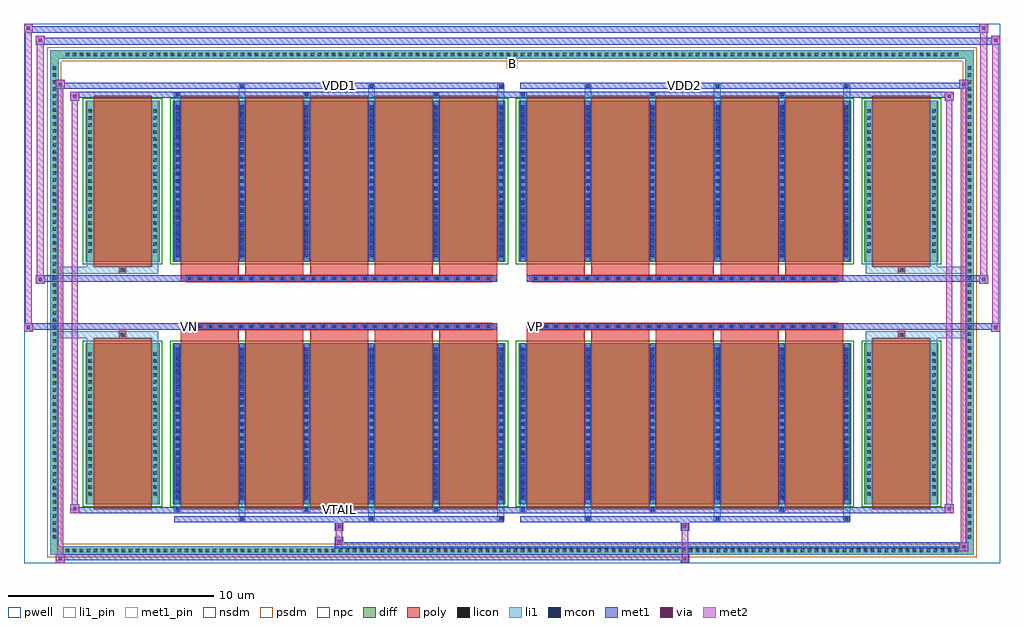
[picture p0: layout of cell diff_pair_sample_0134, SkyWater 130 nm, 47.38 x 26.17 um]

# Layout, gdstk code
import gdstk
lib = gdstk.Library(unit=1e-6, precision=5e-09)
def R(c, l, rs):  # rectangles x0, y0, x1, y1
    for r in rs: c.add(gdstk.rectangle(r[:2], r[2:], *l))
def A(c, l, x, y, w, h, nx, ny, dx, dy):  # array of equal rectangles
    R(c, l, [(x+i*dx, y+j*dy, x+i*dx+w, y+j*dy+h) for i in range(nx) for j in range(ny)])
def P(c, l, *ps):  # polygons
    for p in ps: c.add(gdstk.Polygon(p, *l))
pwell = (64, 44)
diff = (65, 20)
poly = (66, 20)
licon = (66, 44)
li1_pin = (67, 16)
li1 = (67, 20)
mcon = (67, 44)
met1_pin = (68, 16)
met1 = (68, 20)
via = (68, 44)
met2 = (69, 20)
nsdm = (93, 44)
psdm = (94, 20)
npc = (95, 20)

diff_pair_sample_0134 = lib.new_cell('diff_pair_sample_0134')
R(diff_pair_sample_0134, pwell, [(-23.69,-12.65,23.69,13.52), (-21.01,-10.84,-0.01,-0.8), (0.01,-10.84,21.01,-0.8), (-21.01,0.8,-0.01,10.84), (0.01,0.8,21.01,10.84)])
A(diff_pair_sample_0134, diff, -21.795, -12.25, 0.41, 0.41, 128, 2, 0.34, 24.09)
A(diff_pair_sample_0134, diff, -22.42, -11.595, 0.41, 0.41, 1, 68, 0, 0.34)
A(diff_pair_sample_0134, diff, 22.01, -11.595, 0.41, 0.41, 1, 68, 0, 0.34)
R(diff_pair_sample_0134, diff, [(-21.795,-12.25,21.795,-11.84), (-22.42,-11.595,-22.01,11.595), (22.01,-11.595,22.42,11.595), (-20.7,-9.795,-17.11,-1.985), (-16.47,-9.795,-0.32,-1.985), (0.32,-9.795,16.47,-1.985), (17.11,-9.795,20.7,-1.985), (-20.7,1.985,-17.11,9.795), (-16.47,1.985,-0.32,9.795), (0.32,1.985,16.47,9.795), (17.11,1.985,20.7,9.795), (-21.795,11.84,21.795,12.25)])
P(diff_pair_sample_0134, diff, [(22.42,12.25),(-22.42,12.25),(-22.42,-11.84),(-22.01,-11.84),(-22.01,11.84),(22.01,11.84),(22.01,-11.84),(-22.01,-11.84),(-22.42,-11.84),(-22.42,-12.25),(22.42,-12.25)])
A(diff_pair_sample_0134, poly, -16.08, -10.045, 2.81, 8.31, 5, 2, 3.14, 11.78)
A(diff_pair_sample_0134, poly, 0.71, -10.045, 2.81, 8.31, 5, 2, 3.14, 11.78)
A(diff_pair_sample_0134, poly, -16.08, -1.735, 2.81, 0.405, 5, 2, 3.14, 3.065)
A(diff_pair_sample_0134, poly, 0.71, -1.735, 2.81, 0.405, 5, 2, 3.14, 3.065)
A(diff_pair_sample_0134, poly, -15.81, -1.33, 0.33, 0.33, 30, 2, 0.5, 2.33)
A(diff_pair_sample_0134, poly, 0.98, -1.33, 0.33, 0.33, 30, 2, 0.5, 2.33)
R(diff_pair_sample_0134, poly, [(-20.31,-10.045,-17.5,-1.735), (17.5,-10.045,20.31,-1.735), (-19.07,-1.735,-18.74,-1.405), (-19.07,-1.735,-18.74,-1.405), (18.74,-1.735,19.07,-1.405), (18.74,-1.735,19.07,-1.405), (-16.08,-1.33,-0.71,-1), (0.71,-1.33,16.08,-1), (-16.08,1,-0.71,1.33), (0.71,1,16.08,1.33), (-19.07,1.405,-18.74,1.735), (-19.07,1.405,-18.74,1.735), (18.74,1.405,19.07,1.735), (18.74,1.405,19.07,1.735), (-20.31,1.735,-17.5,10.045), (17.5,1.735,20.31,10.045)])
A(diff_pair_sample_0134, licon, -21.675, -12.13, 0.17, 0.17, 128, 2, 0.34, 24.09)
A(diff_pair_sample_0134, licon, -22.3, -11.475, 0.17, 0.17, 1, 68, 0, 0.34)
A(diff_pair_sample_0134, licon, 22.13, -11.475, 0.17, 0.17, 1, 68, 0, 0.34)
A(diff_pair_sample_0134, licon, -20.56, -9.375, 0.17, 0.17, 1, 21, 0, 0.34)
A(diff_pair_sample_0134, licon, -17.42, -9.375, 0.17, 0.17, 1, 21, 0, 0.34)
A(diff_pair_sample_0134, licon, -16.33, -9.375, 0.17, 0.17, 6, 21, 3.14, 0.34)
A(diff_pair_sample_0134, licon, 0.46, -9.375, 0.17, 0.17, 6, 21, 3.14, 0.34)
A(diff_pair_sample_0134, licon, 17.25, -9.375, 0.17, 0.17, 1, 21, 0, 0.34)
A(diff_pair_sample_0134, licon, 20.39, -9.375, 0.17, 0.17, 1, 21, 0, 0.34)
A(diff_pair_sample_0134, licon, -15.73, -1.25, 0.17, 0.17, 30, 2, 0.5, 2.33)
A(diff_pair_sample_0134, licon, 1.06, -1.25, 0.17, 0.17, 30, 2, 0.5, 2.33)
A(diff_pair_sample_0134, licon, -20.56, 2.405, 0.17, 0.17, 1, 21, 0, 0.34)
A(diff_pair_sample_0134, licon, -17.42, 2.405, 0.17, 0.17, 1, 21, 0, 0.34)
A(diff_pair_sample_0134, licon, -16.33, 2.405, 0.17, 0.17, 6, 21, 3.14, 0.34)
A(diff_pair_sample_0134, licon, 0.46, 2.405, 0.17, 0.17, 6, 21, 3.14, 0.34)
A(diff_pair_sample_0134, licon, 17.25, 2.405, 0.17, 0.17, 1, 21, 0, 0.34)
A(diff_pair_sample_0134, licon, 20.39, 2.405, 0.17, 0.17, 1, 21, 0, 0.34)
R(diff_pair_sample_0134, licon, [(-18.99,-1.655,-18.82,-1.485), (18.82,-1.655,18.99,-1.485), (-18.99,1.485,-18.82,1.655), (18.82,1.485,18.99,1.655)])
R(diff_pair_sample_0134, li1_pin, [(-0.25,11.34,0.25,11.84)])
A(diff_pair_sample_0134, li1, -21.755, -12.21, 0.33, 0.33, 128, 2, 0.34, 24.09)
A(diff_pair_sample_0134, li1, -22.38, -11.555, 0.33, 0.33, 1, 68, 0, 0.34)
A(diff_pair_sample_0134, li1, 22.05, -11.555, 0.33, 0.33, 1, 68, 0, 0.34)
A(diff_pair_sample_0134, li1, -13.27, -10.6, 0.33, 0.805, 3, 2, 6.28, 20.395)
A(diff_pair_sample_0134, li1, -13.19, -10.6, 0.17, 0.17, 3, 2, 6.28, 21.03)
A(diff_pair_sample_0134, li1, 3.52, -10.6, 0.33, 0.805, 3, 2, 6.28, 20.395)
A(diff_pair_sample_0134, li1, 3.6, -10.6, 0.17, 0.17, 3, 2, 6.28, 21.03)
A(diff_pair_sample_0134, li1, -16.41, -10.17, 0.33, 0.375, 3, 2, 6.28, 19.965)
A(diff_pair_sample_0134, li1, -16.33, -10.17, 0.17, 0.17, 3, 2, 6.28, 20.17)
A(diff_pair_sample_0134, li1, 0.38, -10.17, 0.33, 0.375, 3, 2, 6.28, 19.965)
A(diff_pair_sample_0134, li1, 0.46, -10.17, 0.17, 0.17, 3, 2, 6.28, 20.17)
A(diff_pair_sample_0134, li1, -16.41, -9.795, 0.33, 7.81, 6, 2, 3.14, 11.78)
A(diff_pair_sample_0134, li1, 0.38, -9.795, 0.33, 7.81, 6, 2, 3.14, 11.78)
A(diff_pair_sample_0134, li1, -16.33, -9.575, 0.17, 0.17, 6, 21, 3.14, 0.36)
A(diff_pair_sample_0134, li1, -16.33, -9.575, 0.17, 7.37, 6, 2, 3.14, 11.78)
A(diff_pair_sample_0134, li1, 0.46, -9.575, 0.17, 0.17, 6, 21, 3.14, 0.36)
A(diff_pair_sample_0134, li1, 0.46, -9.575, 0.17, 7.37, 6, 2, 3.14, 11.78)
A(diff_pair_sample_0134, li1, -20.64, -9.455, 0.33, 0.33, 1, 21, 0, 0.34)
A(diff_pair_sample_0134, li1, -17.5, -9.455, 0.33, 0.33, 1, 21, 0, 0.34)
A(diff_pair_sample_0134, li1, -16.41, -9.455, 0.33, 0.33, 6, 21, 3.14, 0.34)
A(diff_pair_sample_0134, li1, 0.38, -9.455, 0.33, 0.33, 6, 21, 3.14, 0.34)
A(diff_pair_sample_0134, li1, 17.17, -9.455, 0.33, 0.33, 1, 21, 0, 0.34)
A(diff_pair_sample_0134, li1, 20.31, -9.455, 0.33, 0.33, 1, 21, 0, 0.34)
A(diff_pair_sample_0134, li1, -15.81, -1.33, 0.33, 0.33, 30, 2, 0.5, 2.33)
A(diff_pair_sample_0134, li1, 0.98, -1.33, 0.33, 0.33, 30, 2, 0.5, 2.33)
A(diff_pair_sample_0134, li1, -16.33, 2.205, 0.17, 0.17, 6, 21, 3.14, 0.36)
A(diff_pair_sample_0134, li1, 0.46, 2.205, 0.17, 0.17, 6, 21, 3.14, 0.36)
A(diff_pair_sample_0134, li1, -20.64, 2.325, 0.33, 0.33, 1, 21, 0, 0.34)
A(diff_pair_sample_0134, li1, -17.5, 2.325, 0.33, 0.33, 1, 21, 0, 0.34)
A(diff_pair_sample_0134, li1, -16.41, 2.325, 0.33, 0.33, 6, 21, 3.14, 0.34)
A(diff_pair_sample_0134, li1, 0.38, 2.325, 0.33, 0.33, 6, 21, 3.14, 0.34)
A(diff_pair_sample_0134, li1, 17.17, 2.325, 0.33, 0.33, 1, 21, 0, 0.34)
A(diff_pair_sample_0134, li1, 20.31, 2.325, 0.33, 0.33, 1, 21, 0, 0.34)
R(diff_pair_sample_0134, li1, [(-22.42,-12.25,-22.01,-11.84), (-22.42,-12.25,-22.01,-11.84), (-22.01,-12.25,22.01,-11.84), (22.01,-12.25,22.42,-11.84), (22.01,-12.25,22.42,-11.84), (-22.42,-11.84,-22.01,11.84), (22.01,-11.84,22.42,11.84), (-20.64,-9.795,-20.31,-1.985), (-17.5,-9.795,-17.17,-1.985), (17.17,-9.795,17.5,-1.985), (20.31,-9.795,20.64,-1.985), (-20.64,-1.985,-20.31,-1.405), (-17.5,-1.985,-17.17,-1.405), (17.17,-1.985,17.5,-1.405), (20.31,-1.985,20.64,-1.405), (-22.42,-1.735,-19.07,-1.405), (-20.64,-1.735,-19.07,-1.405), (-19.07,-1.735,-18.74,-1.405), (-18.74,-1.735,-17.17,-1.405), (17.17,-1.735,18.74,-1.405), (18.74,-1.735,19.07,-1.405), (18.74,-1.735,22.42,-1.405), (19.07,-1.735,20.64,-1.405), (-22.42,1.405,-19.07,1.735), (-20.64,1.405,-19.07,1.735), (-20.64,1.405,-20.31,1.985), (-19.07,1.405,-18.74,1.735), (-18.74,1.405,-17.17,1.735), (-17.5,1.405,-17.17,1.985), (17.17,1.405,18.74,1.735), (17.17,1.405,17.5,1.985), (18.74,1.405,19.07,1.735), (18.74,1.405,22.42,1.735), (19.07,1.405,20.64,1.735), (20.31,1.405,20.64,1.985), (-20.64,1.985,-20.31,9.795), (-17.5,1.985,-17.17,9.795), (17.17,1.985,17.5,9.795), (20.31,1.985,20.64,9.795), (-22.42,11.84,-22.01,12.25), (-22.42,11.84,-22.01,12.25), (-22.01,11.84,22.01,12.25), (22.01,11.84,22.42,12.25), (22.01,11.84,22.42,12.25)])
A(diff_pair_sample_0134, mcon, -13.19, -10.6, 0.17, 0.17, 3, 2, 6.28, 21.03)
A(diff_pair_sample_0134, mcon, 3.6, -10.6, 0.17, 0.17, 3, 2, 6.28, 21.03)
A(diff_pair_sample_0134, mcon, -16.33, -10.17, 0.17, 0.17, 3, 2, 6.28, 20.17)
A(diff_pair_sample_0134, mcon, 0.46, -10.17, 0.17, 0.17, 3, 2, 6.28, 20.17)
A(diff_pair_sample_0134, mcon, -16.33, -9.575, 0.17, 0.17, 6, 21, 3.14, 0.36)
A(diff_pair_sample_0134, mcon, 0.46, -9.575, 0.17, 0.17, 6, 21, 3.14, 0.36)
A(diff_pair_sample_0134, mcon, -15.73, -1.25, 0.17, 0.17, 30, 2, 0.5, 2.33)
A(diff_pair_sample_0134, mcon, 1.06, -1.25, 0.17, 0.17, 30, 2, 0.5, 2.33)
A(diff_pair_sample_0134, mcon, -16.33, 2.205, 0.17, 0.17, 6, 21, 3.14, 0.36)
A(diff_pair_sample_0134, mcon, 0.46, 2.205, 0.17, 0.17, 6, 21, 3.14, 0.36)
R(diff_pair_sample_0134, met1_pin, [(-8.53,-10.21,-8.26,-9.94), (-15.78,-1.29,-15.51,-1.02), (1.01,-1.29,1.28,-1.02), (-8.53,10.39,-8.26,10.66), (8.26,10.39,8.53,10.66)])
A(diff_pair_sample_0134, met1, -13.25, -10.66, 0.29, 0.29, 3, 2, 6.28, 21.03)
A(diff_pair_sample_0134, met1, 3.54, -10.66, 0.29, 0.29, 3, 2, 6.28, 21.03)
A(diff_pair_sample_0134, met1, -16.39, -10.23, 0.29, 0.29, 3, 2, 6.28, 20.17)
A(diff_pair_sample_0134, met1, 0.4, -10.23, 0.29, 0.29, 3, 2, 6.28, 20.17)
A(diff_pair_sample_0134, met1, -16.39, -9.795, 0.29, 7.81, 6, 2, 3.14, 11.78)
A(diff_pair_sample_0134, met1, 0.4, -9.795, 0.29, 7.81, 6, 2, 3.14, 11.78)
A(diff_pair_sample_0134, met1, -16.39, -9.635, 0.29, 0.29, 6, 21, 3.14, 0.36)
A(diff_pair_sample_0134, met1, 0.4, -9.635, 0.29, 0.29, 6, 21, 3.14, 0.36)
A(diff_pair_sample_0134, met1, -15.79, -1.31, 0.29, 0.29, 30, 2, 0.5, 2.33)
A(diff_pair_sample_0134, met1, 1, -1.31, 0.29, 0.29, 30, 2, 0.5, 2.33)
A(diff_pair_sample_0134, met1, -16.39, 2.145, 0.29, 0.29, 6, 21, 3.14, 0.36)
A(diff_pair_sample_0134, met1, 0.4, 2.145, 0.29, 0.29, 6, 21, 3.14, 0.36)
R(diff_pair_sample_0134, met1, [(-22.15,-12.65,-21.72,-12.22), (8.18,-12.65,8.61,-12.22), (-22.15,-12.51,8.61,-12.22), (21.72,-12.08,22.15,-11.65), (-8.61,-11.94,22.15,-11.65), (-8.61,-11.8,-8.18,-11.37), (-8.61,-11.09,-8.18,-10.66), (8.18,-11.09,8.61,-10.66), (-16.39,-10.66,-0.4,-10.37), (0.4,-10.66,16.39,-10.37), (-21.44,-10.23,-21.01,-9.8), (-21.44,-10.23,-16.39,-9.94), (-16.39,-10.23,-0.4,-9.94), (-0.4,-10.23,0.4,-9.94), (0.4,-10.23,16.39,-9.94), (16.39,-10.23,21.44,-9.94), (21.01,-10.23,21.44,-9.8), (-23.69,-1.43,-23.26,-1), (23.26,-1.43,23.69,-1), (-23.69,-1.33,-0.71,-1), (-16.08,-1.33,-0.71,-1), (0.71,-1.33,16.08,-1), (0.71,-1.33,23.69,-1), (-23.12,0.9,-22.69,1.33), (22.69,0.9,23.12,1.33), (-23.12,1,-16.08,1.33), (-16.08,1,-0.71,1.33), (0.71,1,16.08,1.33), (16.08,1,23.12,1.33), (-21.44,9.8,-21.01,10.23), (21.01,9.8,21.44,10.23), (-21.44,9.94,-16.39,10.23), (-16.39,9.94,-0.4,10.23), (-0.4,9.94,0.4,10.23), (0.4,9.94,16.39,10.23), (16.39,9.94,21.44,10.23), (-22.15,10.37,-21.72,10.8), (-22.15,10.37,-16.39,10.66), (-16.39,10.37,-0.4,10.66), (0.4,10.37,16.39,10.66), (16.39,10.37,22.15,10.66), (21.72,10.37,22.15,10.8), (-23.12,12.52,-22.69,12.95), (-23.12,12.52,-21.01,12.85), (-21.01,12.52,21.01,12.85), (21.01,12.52,23.69,12.85), (23.26,12.52,23.69,12.95), (-23.69,13.09,-23.26,13.52), (-23.69,13.09,-21.01,13.42), (-21.01,13.09,21.01,13.42), (21.01,13.09,23.12,13.42), (22.69,13.09,23.12,13.52)])
R(diff_pair_sample_0134, via, [(-22.01,-12.51,-21.86,-12.36), (8.32,-12.51,8.47,-12.36), (21.86,-11.94,22.01,-11.79), (-8.47,-11.66,-8.32,-11.51), (-8.47,-10.95,-8.32,-10.8), (8.32,-10.95,8.47,-10.8), (-21.3,-10.09,-21.15,-9.94), (21.15,-10.09,21.3,-9.94), (-23.55,-1.29,-23.4,-1.14), (23.4,-1.29,23.55,-1.14), (-22.98,1.04,-22.83,1.19), (22.83,1.04,22.98,1.19), (-21.3,9.94,-21.15,10.09), (21.15,9.94,21.3,10.09), (-22.01,10.51,-21.86,10.66), (21.86,10.51,22.01,10.66), (-22.98,12.66,-22.83,12.81), (23.4,12.66,23.55,12.81), (-23.55,13.23,-23.4,13.38), (22.83,13.23,22.98,13.38)])
R(diff_pair_sample_0134, met2, [(-22.15,-12.65,-21.72,-12.22), (-22.08,-12.65,-21.79,10.8), (-21.79,-12.65,-21.72,-12.22), (-22.1,-12.6,-21.77,-12.27), (8.23,-12.6,8.56,-12.27), (8.23,-12.27,8.56,-11.04), (21.72,-12.08,22.15,-11.65), (21.79,-12.08,22.08,10.8), (22.08,-12.08,22.15,-11.65), (21.77,-12.03,22.1,-11.7), (-8.56,-11.75,-8.23,-11.42), (-8.56,-11.42,-8.23,-11.04), (-8.56,-11.04,-8.23,-10.71), (8.23,-11.04,8.56,-10.71), (-21.44,-10.23,-21.01,-9.8), (-21.37,-10.23,-21.08,10.23), (-21.08,-10.23,-21.01,-9.8), (21.01,-10.23,21.44,-9.8), (21.08,-10.23,21.37,10.23), (21.37,-10.23,21.44,-9.8), (-21.39,-10.18,-21.06,-9.85), (21.06,-10.18,21.39,-9.85), (-23.69,-1.43,-23.26,-1), (-23.64,-1.43,-23.31,13.52), (-23.31,-1.43,-23.26,-1), (23.26,-1.43,23.69,-1), (23.31,-1.43,23.64,12.95), (23.64,-1.43,23.69,-1), (-23.64,-1.38,-23.31,-1.05), (23.31,-1.38,23.64,-1.05), (-23.12,0.9,-22.69,1.33), (-23.07,0.9,-22.74,12.95), (-22.74,0.9,-22.69,1.33), (22.69,0.9,23.12,1.33), (22.74,0.9,23.07,13.52), (23.07,0.9,23.12,1.33), (-23.07,0.95,-22.74,1.28), (22.74,0.95,23.07,1.28), (-21.44,9.8,-21.01,10.23), (-21.08,9.8,-21.01,10.23), (21.01,9.8,21.44,10.23), (21.37,9.8,21.44,10.23), (-21.39,9.85,-21.06,10.18), (21.06,9.85,21.39,10.18), (-22.15,10.37,-21.72,10.8), (-21.79,10.37,-21.72,10.8), (21.72,10.37,22.15,10.8), (22.08,10.37,22.15,10.8), (-22.1,10.42,-21.77,10.75), (21.77,10.42,22.1,10.75), (-23.12,12.52,-22.69,12.95), (-22.74,12.52,-22.69,12.95), (23.26,12.52,23.69,12.95), (23.64,12.52,23.69,12.95), (-23.07,12.57,-22.74,12.9), (23.31,12.57,23.64,12.9), (-23.69,13.09,-23.26,13.52), (-23.31,13.09,-23.26,13.52), (22.69,13.09,23.12,13.52), (23.07,13.09,23.12,13.52), (-23.64,13.14,-23.31,13.47), (22.74,13.14,23.07,13.47)])
R(diff_pair_sample_0134, nsdm, [(-20.83,-9.925,-16.98,-1.855), (-16.6,-9.925,-0.19,-1.855), (0.19,-9.925,16.6,-1.855), (16.98,-9.925,20.83,-1.855), (-20.83,1.855,-16.98,9.925), (-16.6,1.855,-0.19,9.925), (0.19,1.855,16.6,9.925), (16.98,1.855,20.83,9.925)])
P(diff_pair_sample_0134, psdm, [(22.55,12.38),(-22.55,12.38),(-22.55,-11.71),(-21.88,-11.71),(-21.88,11.71),(21.88,11.71),(21.88,-11.71),(-21.88,-11.71),(-22.55,-11.71),(-22.55,-12.38),(22.55,-12.38)])
A(diff_pair_sample_0134, npc, -15.83, -1.35, 0.37, 0.37, 30, 2, 0.5, 2.33)
A(diff_pair_sample_0134, npc, 0.96, -1.35, 0.37, 0.37, 30, 2, 0.5, 2.33)
R(diff_pair_sample_0134, npc, [(-19.09,-1.755,-18.72,-1.385), (18.72,-1.755,19.09,-1.385), (-15.83,-1.35,-14.96,-0.98), (-15.83,-1.35,-14.96,-0.98), (-15.33,-1.35,-14.46,-0.98), (-15.33,-1.35,-14.46,-0.98), (-14.83,-1.35,-13.96,-0.98), (-14.83,-1.35,-13.96,-0.98), (-14.33,-1.35,-13.46,-0.98), (-14.33,-1.35,-13.46,-0.98), (-13.83,-1.35,-12.96,-0.98), (-13.83,-1.35,-12.96,-0.98), (-13.33,-1.35,-12.46,-0.98), (-13.33,-1.35,-12.46,-0.98), (-12.83,-1.35,-11.96,-0.98), (-12.83,-1.35,-11.96,-0.98), (-12.33,-1.35,-11.46,-0.98), (-12.33,-1.35,-11.46,-0.98), (-11.83,-1.35,-10.96,-0.98), (-11.83,-1.35,-10.96,-0.98), (-11.33,-1.35,-10.46,-0.98), (-11.33,-1.35,-10.46,-0.98), (-10.83,-1.35,-9.96,-0.98), (-10.83,-1.35,-9.96,-0.98), (-10.33,-1.35,-9.46,-0.98), (-10.33,-1.35,-9.46,-0.98), (-9.83,-1.35,-8.96,-0.98), (-9.83,-1.35,-8.96,-0.98), (-9.33,-1.35,-8.46,-0.98), (-9.33,-1.35,-8.46,-0.98), (-8.83,-1.35,-7.96,-0.98), (-8.83,-1.35,-7.96,-0.98), (-8.33,-1.35,-7.46,-0.98), (-8.33,-1.35,-7.46,-0.98), (-7.83,-1.35,-6.96,-0.98), (-7.83,-1.35,-6.96,-0.98), (-7.33,-1.35,-6.46,-0.98), (-7.33,-1.35,-6.46,-0.98), (-6.83,-1.35,-5.96,-0.98), (-6.83,-1.35,-5.96,-0.98), (-6.33,-1.35,-5.46,-0.98), (-6.33,-1.35,-5.46,-0.98), (-5.83,-1.35,-4.96,-0.98), (-5.83,-1.35,-4.96,-0.98), (-5.33,-1.35,-4.46,-0.98), (-5.33,-1.35,-4.46,-0.98), (-4.83,-1.35,-3.96,-0.98), (-4.83,-1.35,-3.96,-0.98), (-4.33,-1.35,-3.46,-0.98), (-4.33,-1.35,-3.46,-0.98), (-3.83,-1.35,-2.96,-0.98), (-3.83,-1.35,-2.96,-0.98), (-3.33,-1.35,-2.46,-0.98), (-3.33,-1.35,-2.46,-0.98), (-2.83,-1.35,-1.96,-0.98), (-2.83,-1.35,-1.96,-0.98), (-2.33,-1.35,-1.46,-0.98), (-2.33,-1.35,-1.46,-0.98), (-1.83,-1.35,-0.96,-0.98), (-1.83,-1.35,-0.96,-0.98), (0.96,-1.35,1.83,-0.98), (0.96,-1.35,1.83,-0.98), (1.46,-1.35,2.33,-0.98), (1.46,-1.35,2.33,-0.98), (1.96,-1.35,2.83,-0.98), (1.96,-1.35,2.83,-0.98), (2.46,-1.35,3.33,-0.98), (2.46,-1.35,3.33,-0.98), (2.96,-1.35,3.83,-0.98), (2.96,-1.35,3.83,-0.98), (3.46,-1.35,4.33,-0.98), (3.46,-1.35,4.33,-0.98), (3.96,-1.35,4.83,-0.98), (3.96,-1.35,4.83,-0.98), (4.46,-1.35,5.33,-0.98), (4.46,-1.35,5.33,-0.98), (4.96,-1.35,5.83,-0.98), (4.96,-1.35,5.83,-0.98), (5.46,-1.35,6.33,-0.98), (5.46,-1.35,6.33,-0.98), (5.96,-1.35,6.83,-0.98), (5.96,-1.35,6.83,-0.98), (6.46,-1.35,7.33,-0.98), (6.46,-1.35,7.33,-0.98), (6.96,-1.35,7.83,-0.98), (6.96,-1.35,7.83,-0.98), (7.46,-1.35,8.33,-0.98), (7.46,-1.35,8.33,-0.98), (7.96,-1.35,8.83,-0.98), (7.96,-1.35,8.83,-0.98), (8.46,-1.35,9.33,-0.98), (8.46,-1.35,9.33,-0.98), (8.96,-1.35,9.83,-0.98), (8.96,-1.35,9.83,-0.98), (9.46,-1.35,10.33,-0.98), (9.46,-1.35,10.33,-0.98), (9.96,-1.35,10.83,-0.98), (9.96,-1.35,10.83,-0.98), (10.46,-1.35,11.33,-0.98), (10.46,-1.35,11.33,-0.98), (10.96,-1.35,11.83,-0.98), (10.96,-1.35,11.83,-0.98), (11.46,-1.35,12.33,-0.98), (11.46,-1.35,12.33,-0.98), (11.96,-1.35,12.83,-0.98), (11.96,-1.35,12.83,-0.98), (12.46,-1.35,13.33,-0.98), (12.46,-1.35,13.33,-0.98), (12.96,-1.35,13.83,-0.98), (12.96,-1.35,13.83,-0.98), (13.46,-1.35,14.33,-0.98), (13.46,-1.35,14.33,-0.98), (13.96,-1.35,14.83,-0.98), (13.96,-1.35,14.83,-0.98), (14.46,-1.35,15.33,-0.98), (14.46,-1.35,15.33,-0.98), (14.96,-1.35,15.83,-0.98), (14.96,-1.35,15.83,-0.98), (-15.83,0.98,-14.96,1.35), (-15.83,0.98,-14.96,1.35), (-15.33,0.98,-14.46,1.35), (-15.33,0.98,-14.46,1.35), (-14.83,0.98,-13.96,1.35), (-14.83,0.98,-13.96,1.35), (-14.33,0.98,-13.46,1.35), (-14.33,0.98,-13.46,1.35), (-13.83,0.98,-12.96,1.35), (-13.83,0.98,-12.96,1.35), (-13.33,0.98,-12.46,1.35), (-13.33,0.98,-12.46,1.35), (-12.83,0.98,-11.96,1.35), (-12.83,0.98,-11.96,1.35), (-12.33,0.98,-11.46,1.35), (-12.33,0.98,-11.46,1.35), (-11.83,0.98,-10.96,1.35), (-11.83,0.98,-10.96,1.35), (-11.33,0.98,-10.46,1.35), (-11.33,0.98,-10.46,1.35), (-10.83,0.98,-9.96,1.35), (-10.83,0.98,-9.96,1.35), (-10.33,0.98,-9.46,1.35), (-10.33,0.98,-9.46,1.35), (-9.83,0.98,-8.96,1.35), (-9.83,0.98,-8.96,1.35), (-9.33,0.98,-8.46,1.35), (-9.33,0.98,-8.46,1.35), (-8.83,0.98,-7.96,1.35), (-8.83,0.98,-7.96,1.35), (-8.33,0.98,-7.46,1.35), (-8.33,0.98,-7.46,1.35), (-7.83,0.98,-6.96,1.35), (-7.83,0.98,-6.96,1.35), (-7.33,0.98,-6.46,1.35), (-7.33,0.98,-6.46,1.35), (-6.83,0.98,-5.96,1.35), (-6.83,0.98,-5.96,1.35), (-6.33,0.98,-5.46,1.35), (-6.33,0.98,-5.46,1.35), (-5.83,0.98,-4.96,1.35), (-5.83,0.98,-4.96,1.35), (-5.33,0.98,-4.46,1.35), (-5.33,0.98,-4.46,1.35), (-4.83,0.98,-3.96,1.35), (-4.83,0.98,-3.96,1.35), (-4.33,0.98,-3.46,1.35), (-4.33,0.98,-3.46,1.35), (-3.83,0.98,-2.96,1.35), (-3.83,0.98,-2.96,1.35), (-3.33,0.98,-2.46,1.35), (-3.33,0.98,-2.46,1.35), (-2.83,0.98,-1.96,1.35), (-2.83,0.98,-1.96,1.35), (-2.33,0.98,-1.46,1.35), (-2.33,0.98,-1.46,1.35), (-1.83,0.98,-0.96,1.35), (-1.83,0.98,-0.96,1.35), (0.96,0.98,1.83,1.35), (0.96,0.98,1.83,1.35), (1.46,0.98,2.33,1.35), (1.46,0.98,2.33,1.35), (1.96,0.98,2.83,1.35), (1.96,0.98,2.83,1.35), (2.46,0.98,3.33,1.35), (2.46,0.98,3.33,1.35), (2.96,0.98,3.83,1.35), (2.96,0.98,3.83,1.35), (3.46,0.98,4.33,1.35), (3.46,0.98,4.33,1.35), (3.96,0.98,4.83,1.35), (3.96,0.98,4.83,1.35), (4.46,0.98,5.33,1.35), (4.46,0.98,5.33,1.35), (4.96,0.98,5.83,1.35), (4.96,0.98,5.83,1.35), (5.46,0.98,6.33,1.35), (5.46,0.98,6.33,1.35), (5.96,0.98,6.83,1.35), (5.96,0.98,6.83,1.35), (6.46,0.98,7.33,1.35), (6.46,0.98,7.33,1.35), (6.96,0.98,7.83,1.35), (6.96,0.98,7.83,1.35), (7.46,0.98,8.33,1.35), (7.46,0.98,8.33,1.35), (7.96,0.98,8.83,1.35), (7.96,0.98,8.83,1.35), (8.46,0.98,9.33,1.35), (8.46,0.98,9.33,1.35), (8.96,0.98,9.83,1.35), (8.96,0.98,9.83,1.35), (9.46,0.98,10.33,1.35), (9.46,0.98,10.33,1.35), (9.96,0.98,10.83,1.35), (9.96,0.98,10.83,1.35), (10.46,0.98,11.33,1.35), (10.46,0.98,11.33,1.35), (10.96,0.98,11.83,1.35), (10.96,0.98,11.83,1.35), (11.46,0.98,12.33,1.35), (11.46,0.98,12.33,1.35), (11.96,0.98,12.83,1.35), (11.96,0.98,12.83,1.35), (12.46,0.98,13.33,1.35), (12.46,0.98,13.33,1.35), (12.96,0.98,13.83,1.35), (12.96,0.98,13.83,1.35), (13.46,0.98,14.33,1.35), (13.46,0.98,14.33,1.35), (13.96,0.98,14.83,1.35), (13.96,0.98,14.83,1.35), (14.46,0.98,15.33,1.35), (14.46,0.98,15.33,1.35), (14.96,0.98,15.83,1.35), (14.96,0.98,15.83,1.35), (-19.09,1.385,-18.72,1.755), (18.72,1.385,19.09,1.755)])
diff_pair_sample_0134.add(gdstk.Label('VTAIL', (-8.395,-10.075), layer=68, texttype=5))
diff_pair_sample_0134.add(gdstk.Label('VN', (-15.645,-1.155), layer=68, texttype=5))
diff_pair_sample_0134.add(gdstk.Label('VP', (1.145,-1.155), layer=68, texttype=5))
diff_pair_sample_0134.add(gdstk.Label('B', (0,11.59), layer=67, texttype=5))
diff_pair_sample_0134.add(gdstk.Label('VDD2', (8.395,10.525), layer=68, texttype=5))
diff_pair_sample_0134.add(gdstk.Label('VDD1', (-8.395,10.525), layer=68, texttype=5))

lib.write_gds('diff_pair_sample_0134.gds')
